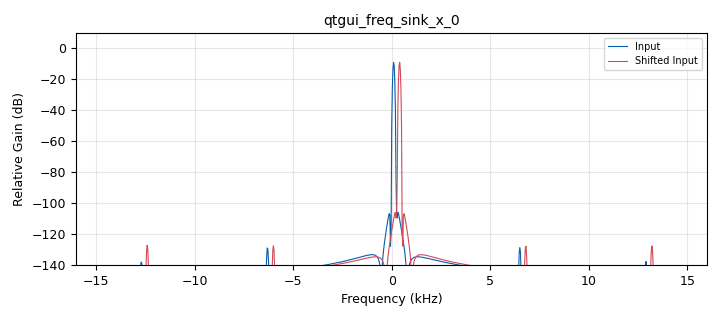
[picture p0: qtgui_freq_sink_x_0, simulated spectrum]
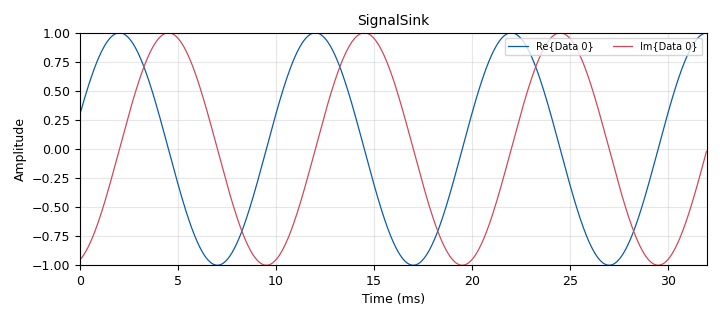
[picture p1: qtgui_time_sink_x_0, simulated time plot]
options:
  parameters:
    author: JI
    generate_options: qt_gui
    id: FreqShift
    output_language: python
    title: FreqShift
  states: {}

blocks:
- name: samp_rate
  id: variable
  parameters:
    value: '32000'
  states: {}
- name: analog_sig_source_x_0
  id: analog_sig_source_x
  parameters:
    amp: '1'
    freq: '100'
    offset: '0'
    phase: '0'
    samp_rate: samp_rate
    type: complex
    waveform: analog.GR_SIN_WAVE
  states: {}
- name: analog_sig_source_x_1
  id: analog_sig_source_x
  parameters:
    amp: '1'
    freq: 3e2
    offset: '0'
    phase: '0'
    samp_rate: samp_rate
    type: complex
    waveform: analog.GR_COS_WAVE
  states: {}
- name: blocks_multiply_xx_0
  id: blocks_multiply_xx
  parameters:
    type: complex
  states: {}
- name: freq_xlating_fir_filter_xxx_0
  id: freq_xlating_fir_filter_xxx
  parameters:
    center_freq: 3e2
    decim: '1'
    samp_rate: samp_rate
    type: ccc
  states: {state: disabled}
- name: qtgui_freq_sink_x_0
  id: qtgui_freq_sink_x
  parameters:
    average: '0.05'
    bw: samp_rate
    fc: '0'
    fftsize: '1024'
    label1: Input
    label2: Shifted Input
    nconnections: '2'
    type: complex
    wintype: firdes.WIN_BLACKMAN_hARRIS
  states: {}
- name: qtgui_time_sink_x_0
  id: qtgui_time_sink_x
  parameters:
    entags: 'False'
    name: SignalSink
    size: '1024'
    srate: samp_rate
    type: complex
  states: {}

connections:
- [analog_sig_source_x_0, '0', blocks_multiply_xx_0, '0']
- [analog_sig_source_x_0, '0', freq_xlating_fir_filter_xxx_0, '0']
- [analog_sig_source_x_0, '0', qtgui_freq_sink_x_0, '0']
- [analog_sig_source_x_0, '0', qtgui_time_sink_x_0, '0']
- [analog_sig_source_x_1, '0', blocks_multiply_xx_0, '1']
- [blocks_multiply_xx_0, '0', qtgui_freq_sink_x_0, '1']

metadata:
  file_format: 1
